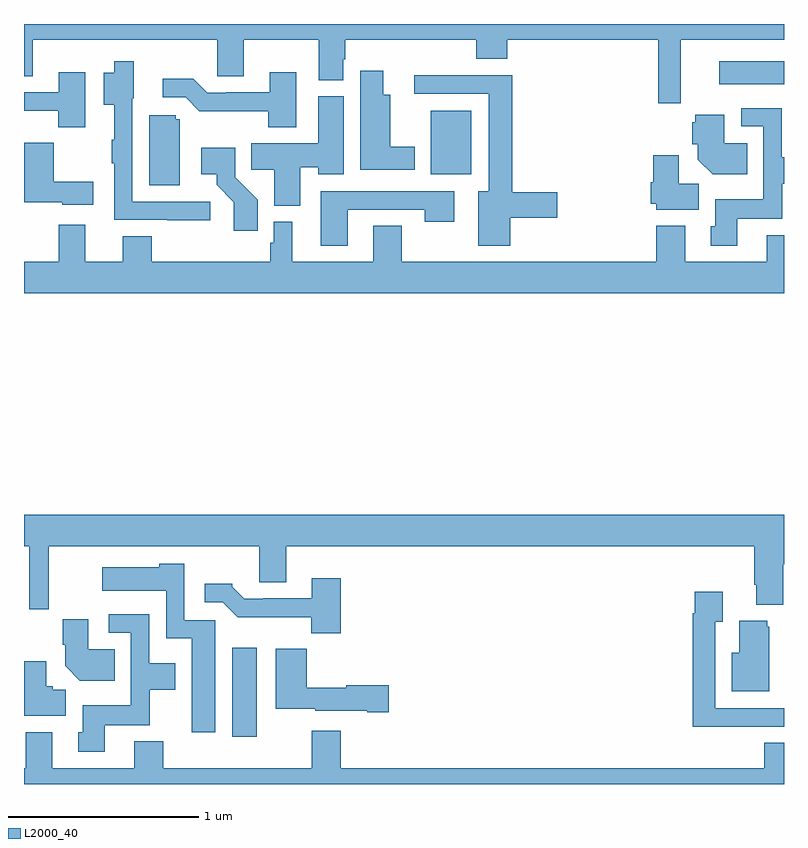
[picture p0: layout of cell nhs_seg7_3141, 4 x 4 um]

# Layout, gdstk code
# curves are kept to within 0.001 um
import gdstk
lib = gdstk.Library(unit=1e-6, precision=1e-09)
def R(c, l, rs):  # rectangles x0, y0, x1, y1
    for r in rs: c.add(gdstk.rectangle(r[:2], r[2:], *l))
def P(c, l, *ps):  # polygons
    for p in ps: c.add(gdstk.Polygon(p, *l))
L2000_40 = (2000, 40)

nhs_seg7_3141 = lib.new_cell('nhs_seg7_3141')
R(nhs_seg7_3141, L2000_40, [(312.095,1030.248,312.226,1030.717), (313.142,1033.208,313.354,1033.543), (314.658,1033.682,315,1033.804)])
P(nhs_seg7_3141, L2000_40, [(314.456,1033.916),(315,1033.916),(315,1034),(311,1034),(311,1033.726),(311.047,1033.726),(311.047,1033.916),(312.018,1033.916),(312.018,1033.726),(312.157,1033.726),(312.157,1033.916),(312.551,1033.916),(312.551,1033.705),(312.679,1033.705),(312.679,1033.815),(312.692,1033.815),(312.692,1033.916),(313.379,1033.916),(313.379,1033.817),(313.544,1033.817),(313.544,1033.916),(314.338,1033.916),(314.338,1033.584),(314.456,1033.584)],
  [(311.98,1033.065),(311.571,1033.065),(311.571,1033.608),(311.578,1033.608),(311.578,1033.804),(311.474,1033.804),(311.474,1033.744),(311.42,1033.744),(311.42,1033.574),(311.474,1033.574),(311.474,1033.39),(311.463,1033.39),(311.463,1033.267),(311.475,1033.267),(311.475,1032.969),(311.755,1032.969),(311.755,1032.967),(311.98,1032.967)],
  [(313.057,1033.354),(312.928,1033.354),(312.928,1033.627),(312.892,1033.627),(312.892,1033.753),(312.77,1033.753),(312.77,1033.232),(313.057,1033.232)],
  [(312.433,1033.747),(312.293,1033.747),(312.293,1033.641),(312.064,1033.641),(312.064,1033.638),(311.964,1033.638),(311.891,1033.711),(311.73,1033.711),(311.73,1033.614),(311.85,1033.614),(311.923,1033.541),(312.286,1033.542),(312.286,1033.457),(312.433,1033.457)],
  [(311.323,1033.747),(311.183,1033.747),(311.183,1033.641),(311,1033.641),(311,1033.544),(311.181,1033.544),(311.181,1033.457),(311.323,1033.457)],
  [(313.558,1032.98),(313.807,1032.98),(313.807,1033.115),(313.571,1033.115),(313.571,1033.73),(313.053,1033.73),(313.053,1033.632),(313.445,1033.632),(313.445,1033.12),(313.391,1033.12),(313.391,1032.834),(313.558,1032.834)],
  [(312.454,1033.247),(312.548,1033.247),(312.548,1033.208),(312.682,1033.208),(312.682,1033.62),(312.548,1033.62),(312.548,1033.372),(312.196,1033.372),(312.196,1033.234),(312.317,1033.234),(312.317,1033.043),(312.454,1033.043)],
  [(314.755,1032.974),(314.991,1032.974),(314.991,1033.16),(315,1033.16),(315,1033.3),(314.988,1033.3),(314.988,1033.557),(314.775,1033.557),(314.775,1033.461),(314.892,1033.461),(314.892,1033.078),(314.639,1033.078),(314.639,1032.936),(314.615,1032.936),(314.615,1032.834),(314.755,1032.834)],
  [(314.807,1033.372),(314.686,1033.372),(314.686,1033.522),(314.534,1033.522),(314.534,1033.482),(314.516,1033.482),(314.516,1033.368),(314.546,1033.368),(314.546,1033.286),(314.624,1033.208),(314.807,1033.208)],
  [(311.821,1033.5),(311.799,1033.5),(311.799,1033.521),(311.66,1033.521),(311.66,1033.152),(311.821,1033.152)],
  [(311.365,1033.171),(311.156,1033.171),(311.156,1033.375),(311,1033.375),(311,1033.061),(311.202,1033.061),(311.202,1033.049),(311.365,1033.049)],
  [(312.23,1033.074),(312.111,1033.193),(312.111,1033.348),(311.934,1033.348),(311.934,1033.208),(312.014,1033.208),(312.014,1033.153),(312.105,1033.063),(312.105,1032.912),(312.23,1032.912)],
  [(314.551,1033.16),(314.446,1033.16),(314.446,1033.309),(314.312,1033.309),(314.312,1033.167),(314.299,1033.167),(314.299,1033.053),(314.328,1033.053),(314.328,1033.022),(314.551,1033.022)],
  [(312.703,1033.023),(313.108,1033.023),(313.108,1032.96),(313.264,1032.96),(313.264,1033.119),(312.563,1033.119),(312.563,1032.834),(312.703,1032.834)],
  [(315,1032.889),(314.909,1032.889),(314.909,1032.748),(314.479,1032.748),(314.479,1032.937),(314.327,1032.937),(314.327,1032.748),(312.987,1032.748),(312.987,1032.938),(312.839,1032.938),(312.839,1032.748),(312.412,1032.748),(312.412,1032.958),(312.315,1032.958),(312.315,1032.849),(312.295,1032.849),(312.295,1032.748),(311.672,1032.748),(311.672,1032.884),(311.519,1032.884),(311.519,1032.748),(311.323,1032.748),(311.323,1032.943),(311.183,1032.943),(311.183,1032.748),(311,1032.748),(311,1032.584),(315,1032.584)],
  [(311.129,1031.252),(312.239,1031.252),(312.239,1031.062),(312.379,1031.062),(312.379,1031.252),(314.843,1031.252),(314.843,1031.05),(314.855,1031.05),(314.855,1030.943),(314.995,1030.943),(314.995,1031.156),(315,1031.156),(315,1031.416),(311,1031.416),(311,1031.252),(311.027,1031.252),(311.027,1030.92),(311.129,1030.92)],
  [(312.007,1030.863),(311.844,1030.863),(311.844,1031.158),(311.712,1031.158),(311.712,1031.14),(311.412,1031.14),(311.412,1031.018),(311.748,1031.018),(311.748,1030.766),(311.882,1030.766),(311.882,1030.272),(312.007,1030.272)],
  [(312.668,1031.083),(312.515,1031.083),(312.515,1030.977),(312.259,1030.977),(312.259,1030.974),(312.16,1030.974),(312.096,1031.038),(312.096,1031.053),(311.952,1031.053),(311.952,1030.956),(312.045,1030.956),(312.124,1030.878),(312.513,1030.878),(312.513,1030.793),(312.668,1030.793)],
  [(314.813,1030.302),(315,1030.302),(315,1030.398),(314.637,1030.398),(314.637,1030.855),(314.677,1030.855),(314.677,1031.011),(314.529,1031.011),(314.529,1030.898),(314.521,1030.898),(314.521,1030.301),(314.813,1030.301)],
  [(311.425,1030.31),(311.661,1030.31),(311.661,1030.496),(311.797,1030.496),(311.797,1030.636),(311.658,1030.636),(311.658,1030.893),(311.445,1030.893),(311.445,1030.797),(311.562,1030.797),(311.562,1030.414),(311.309,1030.414),(311.309,1030.272),(311.285,1030.272),(311.285,1030.17),(311.425,1030.17)],
  [(311.477,1030.708),(311.338,1030.708),(311.338,1030.867),(311.204,1030.867),(311.204,1030.732),(311.216,1030.732),(311.216,1030.622),(311.294,1030.544),(311.477,1030.544)],
  [(314.923,1030.827),(314.912,1030.827),(314.912,1030.858),(314.765,1030.858),(314.765,1030.69),(314.726,1030.69),(314.726,1030.487),(314.923,1030.487)],
  [(312.919,1030.52),(312.696,1030.52),(312.696,1030.507),(312.488,1030.507),(312.488,1030.711),(312.326,1030.711),(312.326,1030.397),(312.534,1030.397),(312.534,1030.385),(312.806,1030.385),(312.806,1030.378),(312.919,1030.378)],
  [(311.221,1030.496),(311.151,1030.496),(311.151,1030.515),(311.116,1030.515),(311.116,1030.645),(311,1030.645),(311,1030.358),(311.221,1030.358)],
  [(315,1030.217),(314.897,1030.217),(314.897,1030.084),(312.668,1030.084),(312.668,1030.279),(312.515,1030.279),(312.515,1030.084),(311.732,1030.084),(311.732,1030.225),(311.579,1030.225),(311.579,1030.084),(311.149,1030.084),(311.149,1030.273),(311.009,1030.273),(311.009,1030.084),(311,1030.084),(311,1030),(315,1030)])

lib.write_gds('nhs_seg7_3141.gds')
